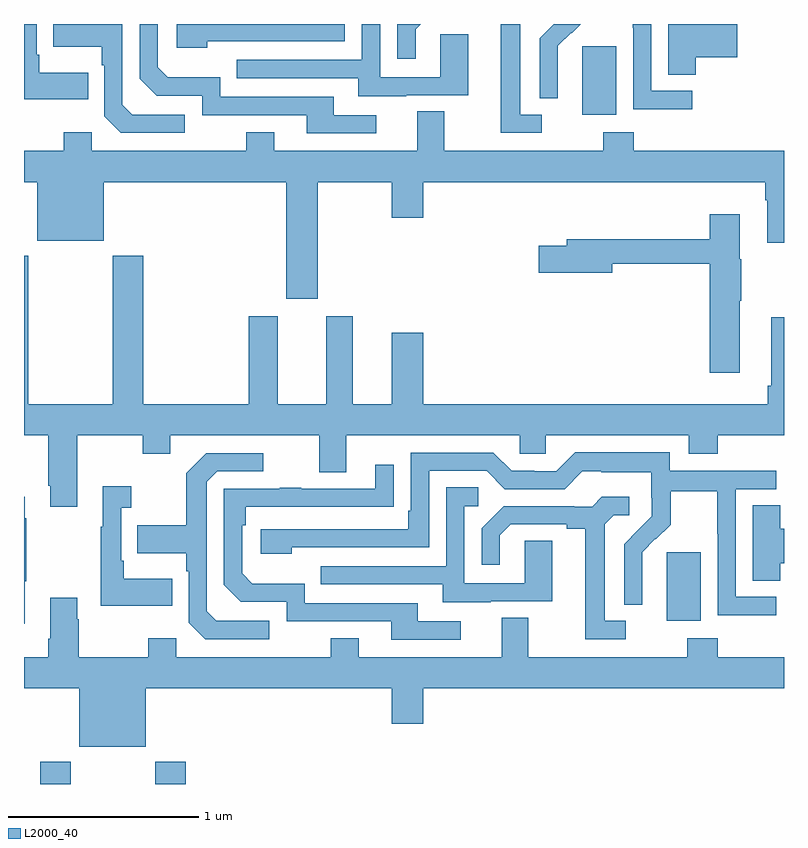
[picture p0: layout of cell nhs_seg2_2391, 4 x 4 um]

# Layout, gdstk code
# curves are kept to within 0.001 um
import gdstk
lib = gdstk.Library(unit=1e-6, precision=1e-09)
def R(c, l, rs):  # rectangles x0, y0, x1, y1
    for r in rs: c.add(gdstk.rectangle(r[:2], r[2:], *l))
def P(c, l, *ps):  # polygons
    for p in ps: c.add(gdstk.Polygon(p, *l))
L2000_40 = (2000, 40)

nhs_seg2_2391 = lib.new_cell('nhs_seg2_2391')
R(nhs_seg2_2391, L2000_40, [(235.085,645.8,235.245,645.916), (235.69,645.8,235.85,645.916), (238.382,646.658,238.561,647.019), (237.938,649.322,238.117,649.683)])
P(nhs_seg2_2391, L2000_40, [(237.061,649.773),(237.088,649.8),(236.964,649.8),(236.964,649.617),(237.061,649.617)],
  [(237.724,649.323),(237.613,649.323),(237.613,649.8),(237.509,649.8),(237.509,649.227),(237.724,649.227)],
  [(238.535,649.625),(238.753,649.625),(238.753,649.8),(238.391,649.8),(238.391,649.534),(238.535,649.534)],
  [(235.964,649.71),(236.688,649.71),(236.688,649.8),(235.803,649.8),(235.803,649.676),(235.964,649.676)],
  [(237.81,649.562),(237.809,649.562),(237.809,649.685),(237.879,649.755),(237.882,649.752),(237.93,649.8),(237.786,649.8),(237.787,649.799),(237.714,649.726),(237.714,649.408),(237.81,649.408)],
  [(238.516,649.449),(238.302,649.449),(238.302,649.8),(238.204,649.8),(238.204,649.78),(238.206,649.78),(238.206,649.351),(238.516,649.351)],
  [(237.013,649.425),(237.337,649.425),(237.337,649.745),(237.192,649.745),(237.192,649.521),(236.874,649.521),(236.874,649.8),(236.778,649.8),(236.778,649.611),(236.119,649.611),(236.119,649.515),(236.759,649.515),(236.759,649.421),(237.013,649.421)],
  [(235.337,649.543),(235.081,649.543),(235.081,649.639),(235.068,649.639),(235.068,649.8),(235,649.8),(235,649.403),(235.337,649.403)],
  [(236.854,649.32),(236.629,649.32),(236.629,649.416),(236.034,649.416),(236.034,649.519),(235.757,649.519),(235.704,649.572),(235.704,649.8),(235.608,649.8),(235.608,649.512),(235.698,649.422),(235.938,649.422),(235.938,649.32),(236.489,649.32),(236.489,649.224),(236.854,649.224)],
  [(235.846,649.323),(235.569,649.323),(235.518,649.374),(235.518,649.8),(235.153,649.8),(235.153,649.679),(235.41,649.679),(235.41,649.583),(235.422,649.583),(235.422,649.314),(235.509,649.227),(235.846,649.227)],
  [(236.545,648.968),(236.936,648.968),(236.936,648.78),(237.1,648.78),(237.1,648.968),(238.901,648.968),(238.901,648.872),(238.913,648.872),(238.913,648.648),(239,648.648),(239,649.132),(238.208,649.132),(238.208,649.231),(238.048,649.231),(238.048,649.132),(237.211,649.132),(237.211,649.34),(237.071,649.34),(237.071,649.132),(236.317,649.132),(236.317,649.231),(236.17,649.231),(236.17,649.132),(235.356,649.132),(235.356,649.231),(235.21,649.231),(235.21,649.132),(235,649.132),(235,648.968),(235.07,648.968),(235.07,648.659),(235.42,648.659),(235.42,648.968),(236.381,648.968),(236.381,648.354),(236.545,648.354)],
  [(238.768,648.343),(238.776,648.343),(238.776,648.561),(238.768,648.561),(238.768,648.799),(238.61,648.799),(238.61,648.667),(237.857,648.667),(237.857,648.633),(237.708,648.633),(237.708,648.491),(238.096,648.491),(238.096,648.538),(238.61,648.538),(238.61,647.964),(238.768,647.964)],
  [(237.1,648.175),(236.936,648.175),(236.936,647.8),(236.731,647.8),(236.731,648.262),(236.591,648.262),(236.591,647.8),(236.335,647.8),(236.335,648.262),(236.183,648.262),(236.183,647.8),(235.628,647.8),(235.628,648.58),(235.468,648.58),(235.468,647.8),(235.023,647.8),(235.023,648.58),(235,648.58),(235,647.636),(235.127,647.636),(235.127,647.371),(235.139,647.371),(235.139,647.259),(235.279,647.259),(235.279,647.636),(235.624,647.636),(235.624,647.537),(235.771,647.537),(235.771,647.636),(236.555,647.636),(236.555,647.442),(236.695,647.442),(236.695,647.636),(237.609,647.636),(237.609,647.538),(237.747,647.538),(237.747,647.636),(238.499,647.636),(238.499,647.537),(238.652,647.537),(238.652,647.636),(239,647.636),(239,648.256),(238.934,648.256),(238.934,647.896),(238.915,647.896),(238.915,647.8),(237.1,647.8)],
  [(238.96,646.785),(238.746,646.785),(238.746,647.352),(238.96,647.352),(238.96,647.448),(238.398,647.448),(238.398,647.545),(237.901,647.545),(237.801,647.445),(237.686,647.445),(237.686,647.448),(237.567,647.448),(237.471,647.544),(237.036,647.544),(237.036,647.239),(237.023,647.239),(237.023,647.142),(236.247,647.142),(236.247,647.012),(236.408,647.012),(236.408,647.046),(237.132,647.046),(237.132,647.448),(237.435,647.448),(237.531,647.352),(237.846,647.352),(237.939,647.445),(238.039,647.445),(238.039,647.441),(238.302,647.441),(238.302,647.307),(238.304,647.307),(238.304,647.21),(238.158,647.062),(238.158,646.744),(238.254,646.744),(238.253,647.021),(238.323,647.091),(238.326,647.088),(238.403,647.165),(238.403,647.34),(238.648,647.34),(238.648,647.116),(238.65,647.116),(238.65,646.687),(238.96,646.687)],
  [(236.29,646.659),(236.013,646.659),(235.962,646.71),(235.962,647.391),(236.016,647.445),(236.26,647.445),(236.26,647.541),(235.959,647.541),(235.854,647.435),(235.854,647.163),(235.597,647.163),(235.597,647.015),(235.854,647.015),(235.854,646.919),(235.866,646.919),(235.866,646.65),(235.953,646.563),(236.29,646.563)],
  [(237.298,646.656),(237.073,646.656),(237.073,646.752),(236.478,646.752),(236.478,646.855),(236.201,646.855),(236.148,646.908),(236.148,647.162),(236.168,647.162),(236.168,647.259),(236.945,647.26),(236.945,647.479),(236.849,647.479),(236.849,647.355),(236.459,647.355),(236.459,647.36),(236.347,647.36),(236.347,647.355),(236.052,647.355),(236.052,646.848),(236.142,646.758),(236.382,646.758),(236.382,646.656),(236.933,646.656),(236.933,646.56),(237.298,646.56)],
  [(235.781,646.879),(235.525,646.879),(235.525,646.975),(235.512,646.975),(235.512,647.255),(235.564,647.255),(235.564,647.368),(235.415,647.368),(235.415,647.155),(235.404,647.155),(235.404,646.739),(235.781,646.739)],
  [(237.457,646.761),(237.781,646.761),(237.781,647.081),(237.636,647.081),(237.636,646.857),(237.318,646.857),(237.318,647.262),(237.391,647.262),(237.391,647.363),(237.222,647.363),(237.222,646.947),(236.563,646.947),(236.563,646.851),(237.203,646.851),(237.203,646.757),(237.457,646.757)],
  [(235.003,646.867),(235.011,646.867),(235.011,647.198),(235.003,647.198),(235.003,647.311),(235,647.311),(235,646.644),(235.003,646.644)],
  [(238.168,646.659),(238.057,646.659),(238.057,647.167),(238.104,647.214),(238.186,647.214),(238.186,647.311),(238.042,647.311),(237.99,647.259),(237.896,647.259),(237.896,647.262),(237.524,647.262),(237.408,647.146),(237.408,646.953),(237.505,646.953),(237.505,647.109),(237.562,647.166),(237.857,647.166),(237.857,647.144),(237.953,647.144),(237.953,646.563),(238.168,646.563)],
  [(238.979,646.961),(239,646.961),(239,647.144),(238.979,647.144),(238.979,647.267),(238.835,647.267),(238.835,646.87),(238.979,646.87)],
  [(236.761,646.567),(236.614,646.567),(236.614,646.468),(235.8,646.468),(235.8,646.567),(235.654,646.567),(235.654,646.468),(235.287,646.468),(235.287,646.667),(235.279,646.667),(235.279,646.78),(235.139,646.78),(235.139,646.564),(235.127,646.564),(235.127,646.468),(235,646.468),(235,646.304),(235.292,646.304),(235.292,645.995),(235.642,645.995),(235.642,646.304),(236.936,646.304),(236.936,646.116),(237.1,646.116),(237.1,646.304),(239,646.304),(239,646.468),(238.652,646.468),(238.652,646.567),(238.492,646.567),(238.492,646.468),(237.655,646.468),(237.655,646.676),(237.515,646.676),(237.515,646.468),(236.761,646.468)])

lib.write_gds('nhs_seg2_2391.gds')
